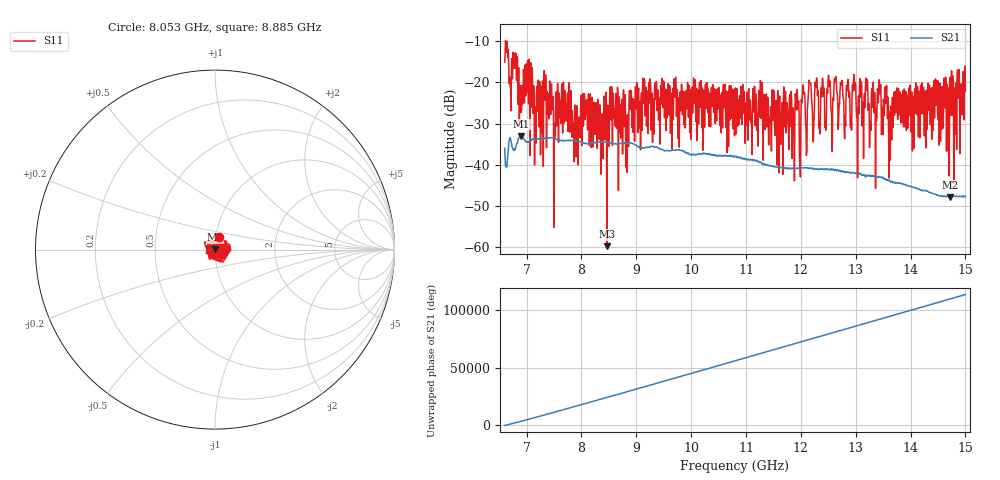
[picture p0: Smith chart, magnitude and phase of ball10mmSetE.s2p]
!Keysight Technologies,N5235B,MY61252044,A.15.00.15
!Date: Friday, January 20, 2023 18:25:49
!Correction: S11(Off)
!S21(Off)
!S12(Off)
!S22(Off)
!S2P File: Measurements: S11, S21, S12, S22:
# Hz S  RI  R 50
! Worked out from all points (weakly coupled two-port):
!   1001 points, 6.6 GHz to 15 GHz, reference 50 ohm
!   highest |S21| = -33.04 dB at 6.902 GHz (marker M1); lowest = -47.8 dB at 14.71 GHz (marker M2)
!   lowest |S11| = -59.7 dB at 8.465 GHz (marker M3), VSWR 1.00, Z = 50 + j0.0992 ohm
!   |S11| at or under -10 dB: start of sweep to 6.616543 GHz; 6.618 GHz to end of sweep
!   S12 and S22 are empty: the file has one direction only
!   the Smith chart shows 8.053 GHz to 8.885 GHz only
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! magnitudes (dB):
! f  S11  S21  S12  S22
! 6.6 GHz  -15.1  -36.0  -  -
! 6.701 GHz  -21.1  -33.4  -  -
! 6.793 GHz  -16.6  -36.2  -  -
! 6.902 GHz  -27.3  -33.0  -  -
! 7.012 GHz  -22.5  -34.5  -  -
! 7.163 GHz  -26.2  -33.7  -  -
! 8.003 GHz  -26.7  -34.5  -  -
! 8.465 GHz  -59.7  -34.5  -  -
! 8.557 GHz  -21.7  -34.8  -  -
! 8.818 GHz  -28.1  -34.6  -  -
! 9.137 GHz  -25.1  -35.9  -  -
! 9.406 GHz  -29.1  -35.9  -  -
! 10.8 GHz  -21.5  -38.1  -  -
! 11.3 GHz  -20.1  -39.8  -  -
! 11.63 GHz  -35.1  -40.6  -  -
! 12.2 GHz  -25.2  -40.8  -  -
! 12.98 GHz  -19.1  -41.9  -  -
! 13.05 GHz  -23.2  -41.9  -  -
! 13.55 GHz  -25.1  -43.6  -  -
! 13.61 GHz  -43.2  -43.7  -  -
! 14.71 GHz  -21.0  -47.8  -  -
! 15 GHz  -22.1  -47.6  -  -
